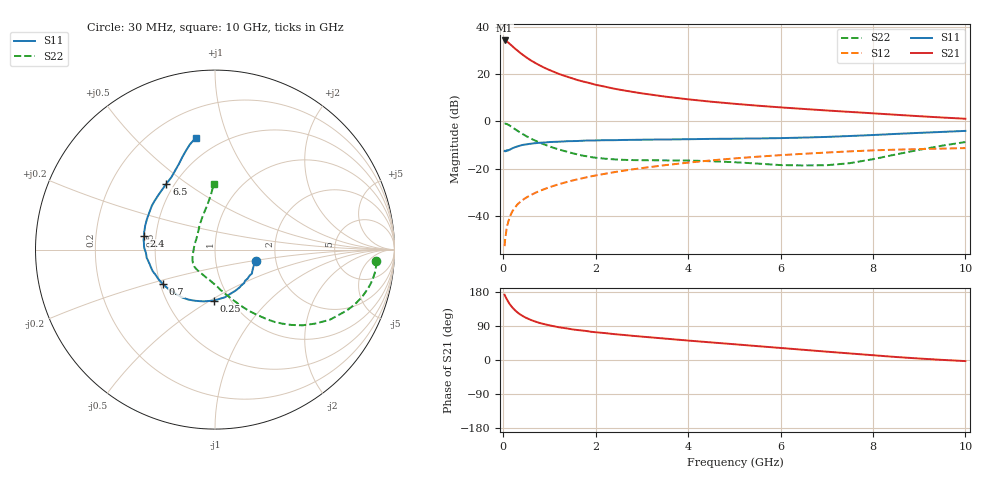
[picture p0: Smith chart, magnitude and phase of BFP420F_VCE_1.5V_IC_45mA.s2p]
! Infineon Technologies  Discrete & RF Semiconductors
! BFP420F
! VCE =  1.5 V,  IC =  45 mA
! Common Emitter S-Parameters:  Sep 2011
# GHz  S  MA  R  50
!  f  S11  S21  S12  S22
! GHz  MAG  ANG  MAG  ANG  MAG  ANG  MAG  ANG
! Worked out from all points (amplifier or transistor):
!   54 points, 30 MHz to 10 GHz, reference 50 ohm
!   highest |S21| = 34.3 dB at 30 MHz (marker M1)
!   |S21| within 3 dB of that: start of sweep to 230 MHz
!   unconditionally stable (mu >= 1): 1.19 GHz to end of sweep
!   at 120 MHz: K = 0.44, MSG = 37.5 dB, |S12| = -41.8 dB
!   at 1.3 GHz: K = 1.02, MAG = 21.8 dB, |S12| = -26.0 dB
!   at 10 GHz: K = 1.22, MAG = 3.4 dB, |S12| = -11.3 dB
!   S11 on the Smith chart (normalised r, x): 30 MHz: 1.58, -0.20; 250 MHz: 0.84, -0.52; 700 MHz: 0.52, -0.23; 2.4 GHz: 0.43, +0.08; 6.5 GHz: 0.45, +0.42; 10 GHz: 0.37, +0.77
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0.03  0.2375 -14.9  51.8 172.2  0.0023 90.9  0.9011 -4.2
0.05  0.2336 -22.5  50.65 166.8  0.0037 88.2  0.8999 -8.3
0.07  0.2453 -33.0  49.82 162.3  0.0052 83.9  0.8885 -12.2
0.1  0.2412 -46.1  47.58 155.4  0.0069 81.4  0.8624 -17.5
0.12  0.2476 -53.6  45.78 151.2  0.0081 78.3  0.8412 -20.7
0.15  0.2556 -63.5  43.05 146.0  0.01 76.8  0.8071 -25.0
0.2  0.2716 -78.5  38.98 138.4  0.0127 74.2  0.75 -31.4
0.25  0.2842 -91.6  35.2 131.8  0.0148 71.7  0.6933 -36.5
0.35  0.3056 -110.9  29.23 121.7  0.0192 68.9  0.5979 -44.6
0.45  0.3232 -124.4  24.64 114.1  0.0229 67.3  0.5224 -50.5
0.6  0.3393 -139.2  19.55 105.6  0.0278 66.5  0.4334 -57.2
0.7  0.3477 -146.2  17.17 101.2  0.0311 66.3  0.391 -60.9
0.9  0.3592 -156.8  13.55 94.3  0.0374 66.2  0.3234 -67.3
1.2  0.3734 -167.8  10.19 86.5  0.0469 66.0  0.2571 -76.5
1.7  0.3906 -179.7  7.125 77.9  0.0625 65.0  0.1912 -91.4
2.4  0.4023 168.8  4.942 68.3  0.0846 62.3  0.1581 -112.5
3.5  0.4159 155.4  3.365 56.5  0.119 56.8  0.1504 -134.0
5.5  0.4372 136.7  2.161 36.6  0.1798 43.8  0.1287 -165.8
6.5  0.4566 126.4  1.842 26.9  0.2072 36.8  0.1176 167.6
7  0.4713 120.9  1.71 22.0  0.2203 33.1  0.1187 152.1
8.5  0.546 109.5  1.386 7.9  0.2533 21.7  0.2011 109.7
10  0.6322 99.8  1.143 -2.9  0.2735 12.4  0.3673 91.0
